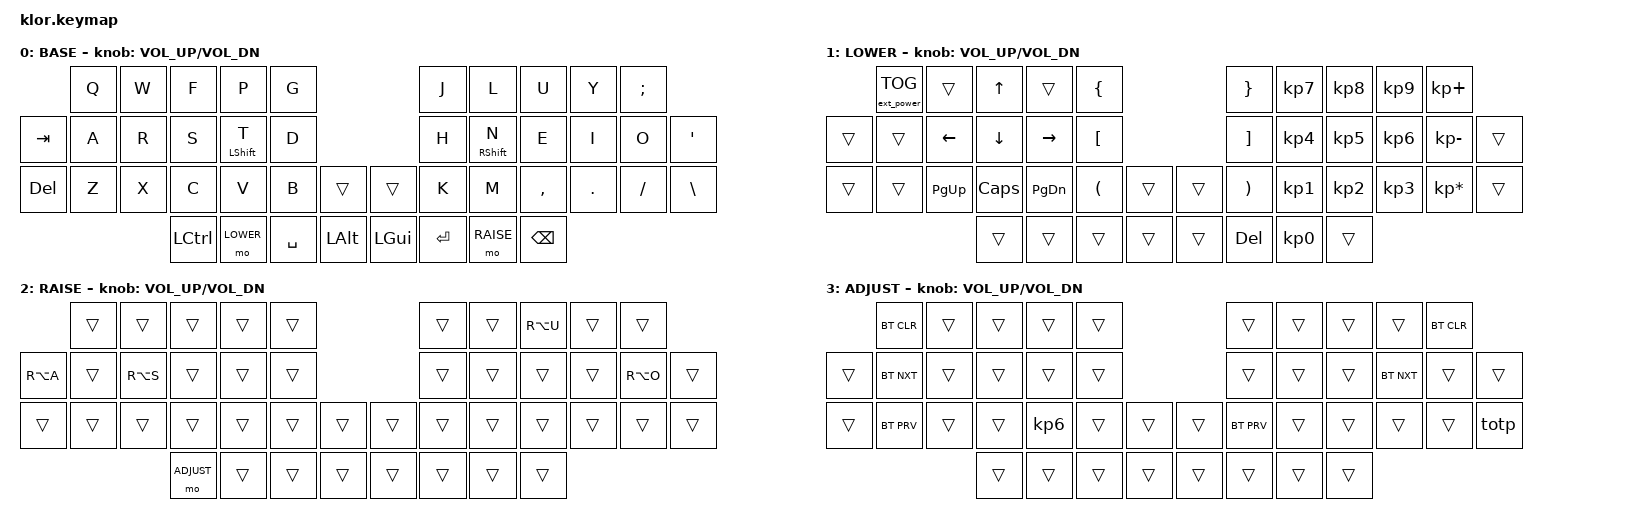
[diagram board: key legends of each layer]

//                               █         █    █            ▄▄▄▀▀▀▀▀▀▄▄▄        █▀▀▀▀▀▀▀▀▀▀█
//                               █        █     █          ▄▀            ▀▄      █          █
//                               █       █      █        ▄▀                ▀▄    █          █
//                               █      █       █        █                  █    █          █
//                               █     █        █       █                    █   █          █
//                               █    █         █       █                    █   █▄▄▄▄▄▄▄▄▄▄█
//                               █   █ █        █       █                    █   █      █
//                               █  █   █       █        █                  █    █       █
//                               █ █     █      █        ▀▄                ▄▀    █        █
//                               ██       █     █          ▀▄            ▄▀      █         █
//                               █         █    █▄▄▄▄▄▄▄▄    ▀▀▀▄▄▄▄▄▄▀▀▀        █          █
//
// ▄▄▄▄▄▄▄▄▄▄▄▄▄▄▄▄▄▄▄▄▄▄▄▄▄▄▄▄▄▄▄▄▄▄▄▄▄▄▄▄▄▄▄▄▄▄▄▄▄▄▄▄▄▄▄▄▄▄▄▄▄▄▄▄▄▄▄▄▄▄▄▄▄▄▄▄▄▄▄▄▄▄▄▄▄▄▄▄▄▄▄▄▄▄▄▄▄▄▄▄▄▄▄▄▄▄▄▄▄▄▄▄▄▄▄▄▄▄▄▄▄▄▄▄▄
       
#include <behaviors.dtsi>
#include <dt-bindings/zmk/keys.h>
#include <dt-bindings/zmk/bt.h>
#include <dt-bindings/zmk/outputs.h>
#include <dt-bindings/zmk/ext_power.h>

#define BASE   0
#define LOWER  1
#define RAISE  2
#define ADJUST 3


/ {
    behaviors {
        hm: homerow_mods {
            compatible = "zmk,behavior-hold-tap";
            label = "HOMEROW_MODS";
            #binding-cells = <2>;
            tapping-term-ms = <150>;
            quick_tap_ms = <0>;
            flavor = "tap-preferred";
            bindings = <&kp>, <&kp>;
        };
        totp: behavior_totp {
                compatible = "zmk,behavior-macro";
                label = "TOTP_MACRO";
                #binding-cells = <0>;
                bindings = <&totp_gen>;
            };
        };

   combos {
          compatible = "zmk,combos";
          combo_esc {
              timeout-ms = <50>;
              key-positions = <0 1>;
              bindings = <&kp ESC>;
            };
   };
   macros {
        totp_gen: totp_generator {
            label = "TOTP_GEN";
            compatible = "zmk,behavior-macro";
            #binding-cells = <0>;
            tap-ms = <1>;
            bindings = <&kp F24>; // Dummy key to trigger our custom handler
        };
   };

        keymap {
                compatible = "zmk,keymap";
// ▄▄▄▄▄▄▄▄▄▄▄▄▄▄▄▄▄▄▄▄▄▄▄▄▄▄▄▄▄▄▄▄▄▄▄▄▄▄▄▄▄▄▄▄▄▄▄▄▄▄▄▄▄▄▄▄▄▄▄▄▄▄▄▄▄▄▄▄▄▄▄▄▄▄▄▄▄▄▄▄▄▄▄▄▄▄▄▄▄▄▄▄▄▄▄▄▄▄▄▄▄▄▄▄▄▄▄▄▄▄▄▄▄▄▄▄▄▄▄▄▄▄▄▄▄▄▄▄▄▄▄▄▄▄▄▄▄▄▄▄▄▄


                base_layer {
// ┌───────────────────────────────────────────────────────────┐
label= "BASE"                                                  ;
// └───────────────────────────────────────────────────────────┘
/*           ┌─────────┬─────────┬─────────┬─────────┬─────────┐                    ┌─────────┬─────────┬─────────┬─────────┬─────────┐
             │    Q    │    W    │    F    │    P    │    G    │                    │    J    │    L    │    U    │    Y    │    ;    │   
   ┌─────────┼─────────┼─────────┼─────────┼─────────┼─────────┤                    ├─────────┼─────────┼─────────┼─────────┼─────────┼─────────┐
   │   TAB   │    A    │    R    │    S    │    T    │    D    │                    │    H    │    N    │    E    │    I    │    O    │    "    │
   ├─────────┼─────────┼─────────┼─────────┼─────────┼─────────┤╭────────╮╭────────╮├─────────┼─────────┼─────────┼─────────┼─────────┼─────────┤
   │   DEL   │    Z    │    X    │    C    │    V    │    B    ││  MUTE  ││PLY/PSE ││    K    │    M    │    ,    │    .    │    /    │    \    │
   └─────────┴─────────┴─────────┼─────────┼─────────┼─────────┼╰────────╯╰────────╯┼─────────┼─────────┼─────────┼─────────┴─────────┴─────────┘
                                 │  CTRL   │  LOWER  │  SPACE  │   ALT   ││ CMD/WIN │  ENTER  │  RAISE  │  BSPCE  │  
                                 └─────────┴─────────┴─────────┴─────────┘└─────────┴─────────┴─────────┴─────────┘ */ 
 bindings = <
 //╷         ╷         ╷         ╷         ╷         ╷         ╷         ╷╷         ╷         ╷         ╷         ╷         ╷         ╷         ╷
              &kp Q     &kp W     &kp F     &kp P     &kp G                          &kp J     &kp L     &kp U     &kp Y     &kp SEMI
    &kp TAB   &kp A     &kp R     &kp S   &hm LSHFT T &kp D                          &kp H   &hm RSHFT N &kp E     &kp I     &kp O     &kp SQT
    &kp DEL   &kp Z     &kp X     &kp C     &kp V     &kp B     &trans     &trans    &kp K     &kp M     &kp COMMA &kp DOT   &kp FSLH  &kp BSLH
                                  &kp LCTRL &mo LOWER &kp SPACE &kp LALT   &kp LGUI  &kp RET   &mo RAISE &kp BSPC    
                        >;
            sensor-bindings = <&inc_dec_kp C_VOL_UP C_VOL_DN>;
                };

// ▄▄▄▄▄▄▄▄▄▄▄▄▄▄▄▄▄▄▄▄▄▄▄▄▄▄▄▄▄▄▄▄▄▄▄▄▄▄▄▄▄▄▄▄▄▄▄▄▄▄▄▄▄▄▄▄▄▄▄▄▄▄▄▄▄▄▄▄▄▄▄▄▄▄▄▄▄▄▄▄▄▄▄▄▄▄▄▄▄▄▄▄▄▄▄▄▄▄▄▄▄▄▄▄▄▄▄▄▄▄▄▄▄▄▄▄▄▄▄▄▄▄▄▄▄▄▄▄▄▄▄▄▄▄▄▄▄▄▄▄▄▄


                lower_layer {
// ┌───────────────────────────────────────────────────────────┐
label= "LOWER"                                                 ;
// └───────────────────────────────────────────────────────────┘
/*           ┌─────────┬─────────┬─────────┬─────────┬─────────┐                    ┌─────────┬─────────┬─────────┬─────────┬─────────┐
             │         │         │    UP   │         │    {    │                    │    }    │    7    │    8    │    9    │    +    │
   ┌─────────┼─────────┼─────────┼─────────┼─────────┼─────────┤                    ├─────────┼─────────┼─────────┼─────────┼─────────┼─────────┐
   │         │         │   LEFT  │  DOWN   │  RIGHT  │    [    │                    │    ]    │    4    │    5    │    6    │    -    │         │
   ├─────────┼─────────┼─────────┼─────────┼─────────┼─────────┤╭────────╮╭────────╮├─────────┼─────────┼─────────┼─────────┼─────────┼─────────┤
   │         │         │   P UP  │ C LOCK  │ P DOWN  │    (    ││        ││        ││    )    │    1    │    2    │    3    │    *    │         │
   └─────────┴─────────┴─────────┼─────────┼─────────┼─────────┼╰────────╯╰────────╯┼─────────┼─────────┼─────────┼─────────┴─────────┴─────────┘
                                 │         │         │         │         ││         │         │    0    │         │  
                                 └─────────┴─────────┴─────────┴─────────┘└─────────┴─────────┴─────────┴─────────┘ */ 
 bindings = <
 //╷         ╷         ╷         ╷         ╷         ╷         ╷         ╷╷         ╷         ╷         ╷         ╷         ╷         ╷         ╷
    &ext_power EP_TOG   &trans    &kp UP    &trans    &kp LBRC                       &kp RBRC  &kp KP_N7 &kp KP_N8 &kp KP_N9 &kp KP_PLUS
    &trans    &trans    &kp LEFT  &kp DOWN  &kp RIGHT &kp LBKT                       &kp RBKT  &kp KP_N4 &kp KP_N5 &kp KP_N6 &kp KP_MINUS &trans
    &trans    &trans    &kp PG_UP &kp CAPS  &kp PG_DN &kp LPAR  &trans     &trans    &kp RPAR  &kp KP_N1 &kp KP_N2 &kp KP_N3 &kp KP_MULTIPLY &trans
                                  &trans    &trans    &trans    &trans     &trans    &kp DELETE &kp KP_N0 &trans  
                        >;
            sensor-bindings = <&inc_dec_kp C_VOL_UP C_VOL_DN>;
                };

// ▄▄▄▄▄▄▄▄▄▄▄▄▄▄▄▄▄▄▄▄▄▄▄▄▄▄▄▄▄▄▄▄▄▄▄▄▄▄▄▄▄▄▄▄▄▄▄▄▄▄▄▄▄▄▄▄▄▄▄▄▄▄▄▄▄▄▄▄▄▄▄▄▄▄▄▄▄▄▄▄▄▄▄▄▄▄▄▄▄▄▄▄▄▄▄▄▄▄▄▄▄▄▄▄▄▄▄▄▄▄▄▄▄▄▄▄▄▄▄▄▄▄▄▄▄


                raise_layer {
// ┌───────────────────────────────────────────────────────────┐
label= "RAISE"                                                 ;
// └───────────────────────────────────────────────────────────┘
/*           ┌─────────┬─────────┬─────────┬─────────┬─────────┐                    ┌─────────┬─────────┬─────────┬─────────┬─────────┐
             │         │         │         │         │         │                    │         │         │    Ü    │         │         │
   ┌─────────┼─────────┼─────────┼─────────┼─────────┼─────────┤                    ├─────────┼─────────┼─────────┼─────────┼─────────┼─────────┐
   │    Ä    │         │    ß    │         │         │         │                    │         │         │         │         │    Ö    │         │
   ├─────────┼─────────┼─────────┼─────────┼─────────┼─────────┤╭────────╮╭────────╮├─────────┼─────────┼─────────┼─────────┼─────────┼─────────┤
   │         │         │         │         │         │         ││        ││        ││         │         │         │         │         │         │
   └─────────┴─────────┴─────────┼─────────┼─────────┼─────────┼╰────────╯╰────────╯┼─────────┼─────────┼─────────┼─────────┴─────────┴─────────┘
                                 │ ADJUST  │         │         │         ││         │         │         │         │  
                                 └─────────┴─────────┴─────────┴─────────┘└─────────┴─────────┴─────────┴─────────┘ */ 
 bindings = <
 //╷         ╷         ╷         ╷         ╷         ╷         ╷         ╷╷         ╷         ╷         ╷         ╷         ╷         ╷         ╷
              &trans    &trans    &trans    &trans    &trans                         &trans    &trans    &kp RA(U) &trans    &trans     
    &kp RA(A) &trans    &kp RA(S) &trans    &trans    &trans                         &trans    &trans    &trans    &trans    &kp RA(O) &trans  
    &trans    &trans    &trans    &trans    &trans    &trans    &trans     &trans    &trans    &trans    &trans    &trans    &trans    &trans
                                  &mo ADJUST &trans   &trans    &trans     &trans    &trans    &trans    &trans  
                        >;
                sensor-bindings = <&inc_dec_kp C_VOL_UP C_VOL_DN>;
                };

// ▄▄▄▄▄▄▄▄▄▄▄▄▄▄▄▄▄▄▄▄▄▄▄▄▄▄▄▄▄▄▄▄▄▄▄▄▄▄▄▄▄▄▄▄▄▄▄▄▄▄▄▄▄▄▄▄▄▄▄▄▄▄▄▄▄▄▄▄▄▄▄▄▄▄▄▄▄▄▄▄▄▄▄▄▄▄▄▄▄▄▄▄▄▄▄▄▄▄▄▄▄▄▄▄▄▄▄▄▄▄▄▄▄▄▄▄▄▄▄▄▄▄▄▄▄


                adjust_layer {
// ┌───────────────────────────────────────────────────────────┐
label= "ADJUST"                                                ;
// └───────────────────────────────────────────────────────────┘
/*           ┌─────────┬─────────┬─────────┬─────────┬─────────┐                    ┌─────────┬─────────┬─────────┬─────────┬─────────┐
             │         │         │         │         │         │                    │         │         │         │         │         │
   ┌─────────┼─────────┼─────────┼─────────┼─────────┼─────────┤                    ├─────────┼─────────┼─────────┼─────────┼─────────┼─────────┐
   │         │         │         │         │         │         │                    │         │         │         │         │         │         │
   ├─────────┼─────────┼─────────┼─────────┼─────────┼─────────┤╭────────╮╭────────╮├─────────┼─────────┼─────────┼─────────┼─────────┼─────────┤
   │         │         │         │         │         │         ││        ││        ││         │         │         │         │         │         │
   └─────────┴─────────┴─────────┼─────────┼─────────┼─────────┼╰────────╯╰────────╯┼─────────┼─────────┼─────────┼─────────┴─────────┴─────────┘
                                 │         │         │         │         ││         │         │         │         │  
                                 └─────────┴─────────┴─────────┴─────────┘└─────────┴─────────┴─────────┴─────────┘ */ 
 bindings = <
 //╷         ╷         ╷         ╷         ╷         ╷         ╷         ╷╷         ╷         ╷         ╷         ╷         ╷         ╷         ╷
             &bt BT_CLR &trans    &trans    &trans    &trans                         &trans    &trans    &trans    &trans    &bt BT_CLR   
    &trans   &bt BT_NXT &trans    &trans    &trans    &trans                         &trans    &trans    &trans    &bt BT_NXT &trans   &trans 
    &trans   &bt BT_PRV &trans    &trans    &kp KP_N6 &trans    &trans     &trans    &bt BT_PRV &trans   &trans    &trans    &trans    &totp    
                                  &trans    &trans    &trans    &trans     &trans    &trans    &trans    &trans    
                        >;
            sensor-bindings = <&inc_dec_kp C_VOL_UP C_VOL_DN>;
                };
        };
};
